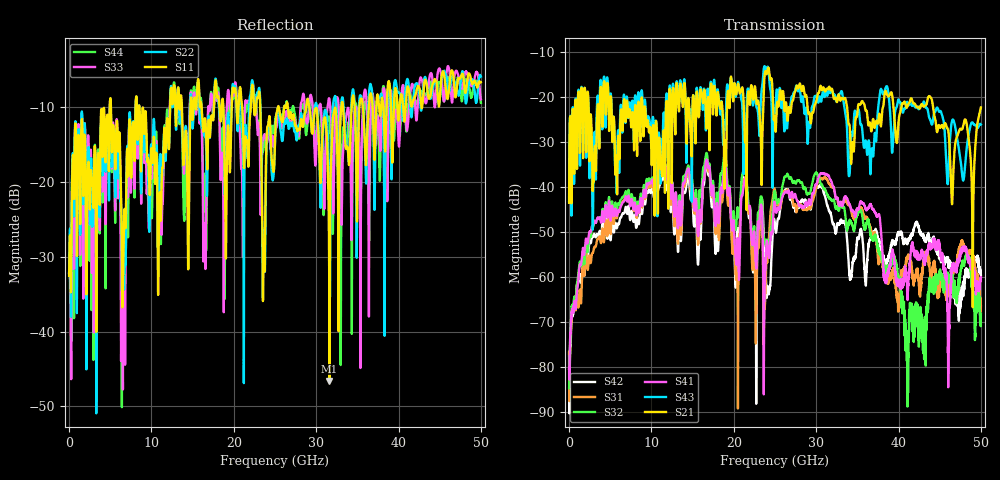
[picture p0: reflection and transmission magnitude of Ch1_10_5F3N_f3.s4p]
!Agilent Technologies,N5247A,US51170199,A.09.90.13
!Agilent N5247A: A.09.90.13
!Date: Wednesday, December 09, 2015 09:16:52
!Correction: S11(Full 4 Port(1,2,3,4))
!S12(Full 4 Port(1,2,3,4))
!S13(Full 4 Port(1,2,3,4))
!S14(Full 4 Port(1,2,3,4))
!S21(Full 4 Port(1,2,3,4))
!S22(Full 4 Port(1,2,3,4))
!S23(Full 4 Port(1,2,3,4))
!S24(Full 4 Port(1,2,3,4))
!S31(Full 4 Port(1,2,3,4))
!S32(Full 4 Port(1,2,3,4))
!S33(Full 4 Port(1,2,3,4))
!S34(Full 4 Port(1,2,3,4))
!S41(Full 4 Port(1,2,3,4))
!S42(Full 4 Port(1,2,3,4))
!S43(Full 4 Port(1,2,3,4))
!S44(Full 4 Port(1,2,3,4))
!S4P File: Measurements: <S11,S12,S13,S14>,
!<S21,S22,S23,S24>,
!<S31,S32,S33,S34>,
!<S41,S42,S43,S44>:
# Hz S  dB  R 50
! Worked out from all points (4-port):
!   3201 points, 10 MHz to 50 GHz, reference 50 ohm
!   strongest paths, dB at 10 MHz, 12.51 GHz, 25 GHz, 37.5 GHz, 50 GHz:
!     S21: -43.5, -27.5, -25.9, -26.0, -22.4
!     S43: -43.2, -24.2, -23.6, -23.0, -26.2
!     S41: -80.4, -38.9, -44.0, -46.4, -60.1
!     S32: -84.7, -38.9, -41.0, -53.5, -68.2
!     S31: -76.6, -40.0, -40.8, -55.8, -66.5
!     S42: -76.8, -40.3, -48.5, -51.6, -59.6
!   lowest |S11| = -46.6 dB at 31.61 GHz (marker M1), VSWR 1.01, Z = 49.9 - j0.448 ohm
!   |S11| at or under -10 dB: start of sweep to 4.951 GHz; 8.542 GHz to 12.27 GHz (3.725 GHz wide, 35.8 % of centre); 29.16 GHz to 33.05 GHz (3.894 GHz wide, 12.5 % of centre)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
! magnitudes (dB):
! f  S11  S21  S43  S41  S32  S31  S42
! 10 MHz  -32.5  -43.5  -43.2  -80.4  -84.7  -76.6  -76.8
! 11.51 GHz  -14.1  -27.5  -23.5  -36.5  -36.2  -37.2  -38.4
! 21.35 GHz  -14.9  -29.7  -25.1  -38.4  -37.1  -38.3  -39.1
! 23.79 GHz  -27.7  -14.7  -13.3  -60.6  -52.2  -65.8  -55.8
! 31.61 GHz  -46.6  -17.8  -19.0  -38.0  -42.6  -39.4  -45.5
! 41.02 GHz  -7.7  -22.4  -21.2  -60.4  -78.7  -55.9  -52.1
! 50 GHz  -6.7  -22.4  -26.2  -60.1  -68.2  -66.5  -59.6
